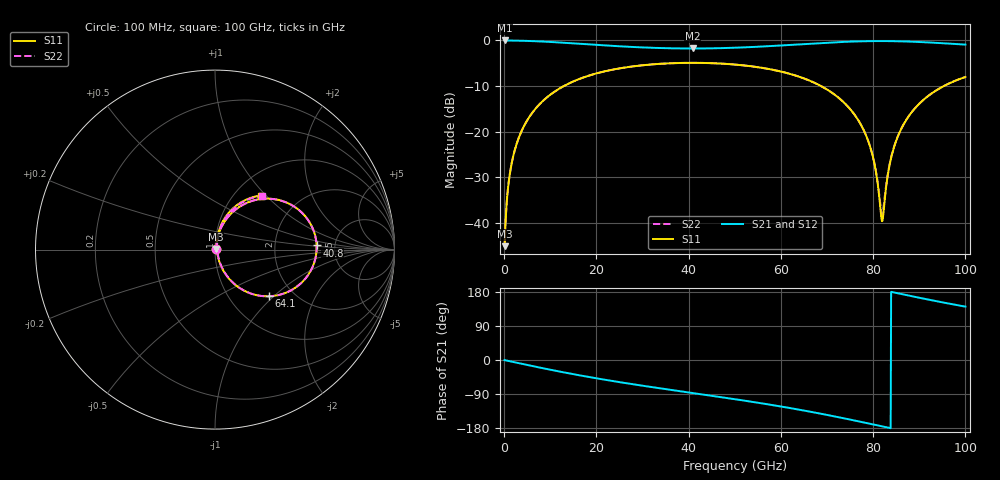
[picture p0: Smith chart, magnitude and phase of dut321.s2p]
! Touchstone file exported from HFSS 2026.1.0
!  File:  C:/ffzhzh/LocalFiles/Ansys_Project_Files/temp_train_RDL_321_1783502724_9504.aedt
!  Generated:  05:27:23 PM Jul  8, 2026
!  Design:  RDL
!  Project:  temp_train_RDL_321_1783502724_9504
! Variables:
!  h_bsmrdl = 2um
!  h_ox = 20um
!  h_rdl = 5um
!  h_sub = 80um
!  h_tmrdl = 2.09um
!  h_tsv = 80um
!  h_via = 3um
!  l_bsmrdl = 300um
!  l_sub = 1099.47um
!  l_tmrdl = 699.47um
!  m_sub = 200um
!  pitch = 56.38um
!  r_tsv = 6um
!  s_tmrdl = 10um
!  w_bsmrdl = 18um
!  w_sub = 500um
!  w_tmrdl = 27.23um
!  x_tsv_center1 = 713.085um
!  x_tsv_center2 = 1031.085um
!  x_tsv_center3 = 1757.785um
!  x_tsv_center4 = 2075.785um
!  x_tsv_center5 = 2802.485um
!  x_tsv_center6 = 3120.485um
# GHz S MA R 50.000000
! Terminal data exported
! Port[1] = TM_RDL1_1_T1
! Port[2] = TM_RDL1_1_T2
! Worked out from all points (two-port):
!   1000 points, 100 MHz to 100 GHz, reference 50 ohm
!   highest |S21| = -0.04 dB at 100 MHz (marker M1); lowest = -1.8 dB at 40.9 GHz (marker M2)
!   |S21| within 3 dB of the highest: start of sweep to end of sweep
!   lowest |S11| = -45.0 dB at 100 MHz (marker M3), VSWR 1.01, Z = 50.5 + j0.303 ohm
!   |S11| at or under -10 dB: start of sweep to 12.97 GHz; 68.67 GHz to 95.35 GHz (26.68 GHz wide, 32.5 % of centre)
!   |S22| runs from -45.0 to -4.9 dB; largest |S21 - S12| = 1.8e-14
!   S11 on the Smith chart (normalised r, x): 100 MHz: 1.01, +0.01; 40.8 GHz: 3.60, +0.24; 64.1 GHz: 1.51, -0.93; 100 GHz: 1.31, +0.94
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0.1  0.005598 32.4  0.9953 -0.3  0.9953 -0.3  0.005598 32.4
! Gamma 0 0 0 0
! Port Impedance 50 0 50 0
0.9  0.02585 74.4  0.9937 -2.4  0.9937 -2.4  0.02586 74.3
1.5  0.04165 77.3  0.9928 -4.0  0.9928 -4.0  0.04165 77.3
4.2  0.1126 75.4  0.9867 -11.0  0.9867 -11.0  0.1126 75.4
9.2  0.2356 64.3  0.9637 -23.7  0.9637 -23.7  0.2356 64.3
16.8  0.3857 47.1  0.9126 -41.4  0.9126 -41.4  0.3857 47.1
33.4  0.5509 15.1  0.8235 -74.0  0.8235 -74.0  0.5509 15.0
40.8  0.5666 2.3  0.813 -87.0  0.813 -87.0  0.5666 2.2
40.9  0.5666 2.2  0.813 -87.2  0.813 -87.2  0.5666 2.1
50.1  0.542 -13.9  0.829 -103.5  0.829 -103.5  0.5419 -14.0
64.1  0.3972 -40.9  0.9036 -131.4  0.9036 -131.4  0.3971 -41.0
66.7  0.3533 -46.5  0.9205 -137.2  0.9205 -137.2  0.3532 -46.5
73.1  0.2218 -60.5  0.958 -152.4  0.958 -152.4  0.2217 -60.3
77.5  0.1154 -69.0  0.9747 -163.6  0.9747 -163.6  0.1155 -68.4
80  0.05187 -69.0  0.9793 -170.0  0.9793 -170.0  0.05215 -67.1
81.9  0.01053 -2.6  0.98 -175.0  0.98 -175.0  0.0125 -1.1
82.3  0.01387 44.7  0.9799 -176.0  0.9799 -176.0  0.01554 39.9
83.4  0.03919 75.2  0.9789 -178.9  0.9789 -178.9  0.03993 72.1
85.4  0.08992 78.9  0.9752 175.9  0.9752 175.9  0.09034 77.3
88.7  0.1716 73.8  0.9638 167.5  0.9638 167.5  0.1719 72.7
93.6  0.2813 63.2  0.9378 155.5  0.9378 155.5  0.2815 62.4
100  0.3965 49.5  0.8963 140.9  0.8963 140.9  0.3967 48.7
